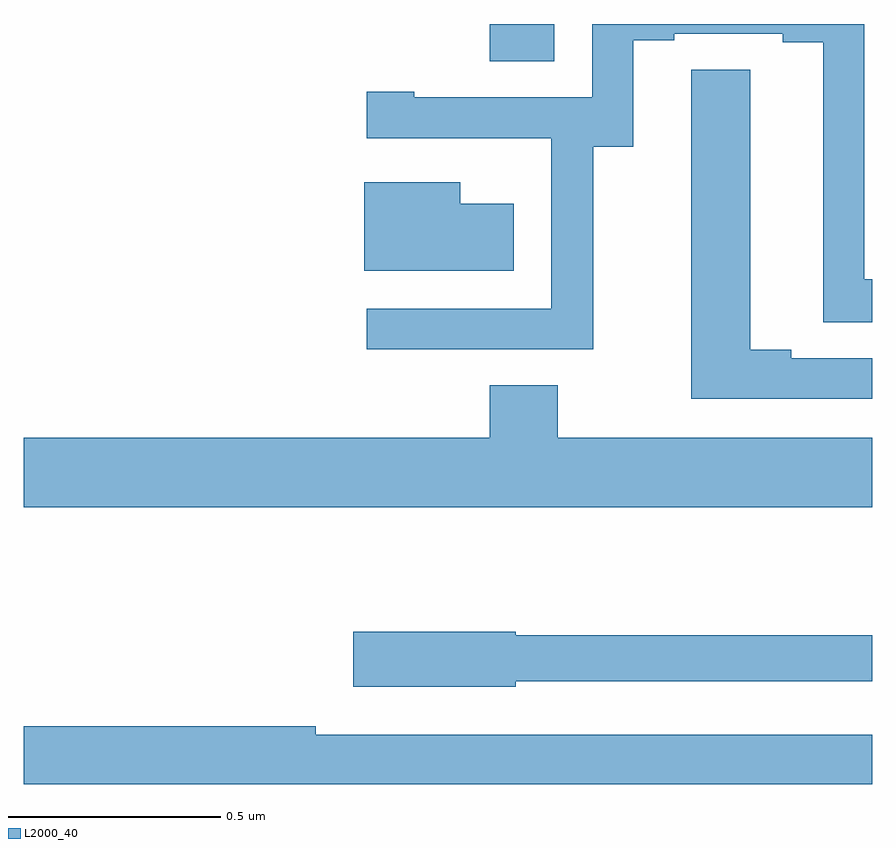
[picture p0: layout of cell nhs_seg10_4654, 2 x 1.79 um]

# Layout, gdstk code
import gdstk
lib = gdstk.Library(unit=1e-6, precision=1e-09)
def R(c, l, rs):  # rectangles x0, y0, x1, y1
    for r in rs: c.add(gdstk.rectangle(r[:2], r[2:], *l))
def P(c, l, *ps):  # polygons
    for p in ps: c.add(gdstk.Polygon(p, *l))
L2000_40 = (2000, 40)

nhs_seg10_4654 = lib.new_cell('nhs_seg10_4654')
R(nhs_seg10_4654, L2000_40, [(170.099,1257.412,170.251,1257.5)])
P(nhs_seg10_4654, L2000_40, [(170.343,1257.211),(170.437,1257.211),(170.437,1257.462),(170.533,1257.462),(170.533,1257.477),(170.789,1257.477),(170.789,1257.457),(170.885,1257.457),(170.885,1256.797),(171,1256.797),(171,1256.898),(170.982,1256.898),(170.982,1257.5),(170.34,1257.5),(170.34,1257.327),(169.921,1257.327),(169.921,1257.34),(169.809,1257.34),(169.809,1257.231),(170.243,1257.231),(170.243,1257.23),(170.244,1257.23),(170.244,1256.829),(169.809,1256.829),(169.809,1256.733),(170.343,1256.733)],
  [(171,1256.712),(170.809,1256.712),(170.809,1256.732),(170.713,1256.732),(170.713,1257.392),(170.574,1257.392),(170.574,1257.284),(170.573,1257.284),(170.573,1256.616),(171,1256.616)],
  [(170.155,1257.076),(170.029,1257.076),(170.029,1257.127),(169.802,1257.127),(169.802,1256.918),(170.155,1256.918)],
  [(171,1256.524),(170.259,1256.524),(170.259,1256.648),(170.099,1256.648),(170.099,1256.524),(169,1256.524),(169,1256.36),(171,1256.36)],
  [(170.16,1255.95),(171,1255.95),(171,1256.059),(170.16,1256.059),(170.16,1256.067),(169.776,1256.067),(169.776,1255.937),(170.16,1255.937)],
  [(171,1255.824),(169.688,1255.824),(169.688,1255.844),(169,1255.844),(169,1255.708),(171,1255.708)])

lib.write_gds('nhs_seg10_4654.gds')
